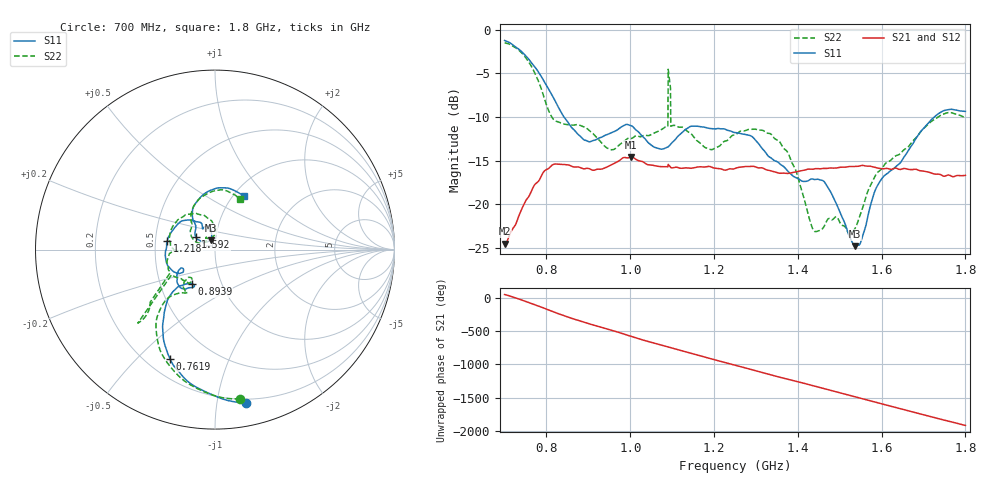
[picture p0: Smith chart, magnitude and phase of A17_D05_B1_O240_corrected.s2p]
! Created with skrf 1.9.0 (http://scikit-rf.org).
# Hz S RI R 50.0
!freq ReS11 ImS11 ReS21 ImS21 ReS12 ImS12 ReS22 ImS22
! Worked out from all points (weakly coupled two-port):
!   1601 points, 700 MHz to 1.8 GHz, reference 50 ohm
!   highest |S21| = -14.60 dB at 1.002 GHz (marker M1); lowest = -24.5 dB at 700.7 MHz (marker M2)
!   lowest |S11| = -24.8 dB at 1.537 GHz (marker M3), VSWR 1.12, Z = 47.3 + j4.91 ohm
!   |S11| at or under -10 dB: 841.7 MHz to 1.726 GHz (884.3 MHz wide, 68.9 % of centre)
!   |S22| runs from -23.5 to -1.5 dB; largest |S21 - S12| = 0.0035
!   S11 on the Smith chart (normalised r, x): 700 MHz: 0.17, -1.21; 761.9 MHz: 0.29, -0.63; 893.9 MHz: 0.72, -0.29; 1.218 GHz: 0.58, +0.06; 1.592 GHz: 0.80, +0.12; 1.8 GHz: 1.12, +0.76
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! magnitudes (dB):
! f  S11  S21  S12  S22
! 700 MHz  -1.2  -24.5  -24.3  -1.5
! 700.7 MHz  -1.2  -24.5  -24.2  -1.5
! 761.9 MHz  -3.6  -18.8  -18.7  -4.0
! 816.2 MHz  -7.8  -15.5  -15.5  -10.2
! 883.6 MHz  -12.3  -15.9  -15.8  -11.0
! 893.9 MHz  -12.7  -15.9  -16.0  -11.2
! 953 MHz  -11.9  -15.6  -15.6  -13.7
! 1.002 GHz  -11.0  -14.6  -14.7  -12.5
! 1.067 GHz  -13.6  -15.7  -15.6  -11.6
! 1.084 GHz  -13.6  -15.7  -15.7  -11.1
! 1.096 GHz  -13.1  -15.7  -15.8  -6.7
! 1.102 GHz  -12.8  -15.8  -15.8  -11.0
! 1.218 GHz  -11.4  -16.0  -16.0  -13.1
! 1.25 GHz  -11.8  -15.9  -15.8  -12.1
! 1.356 GHz  -15.3  -16.4  -16.4  -12.8
! 1.434 GHz  -17.1  -16.0  -16.0  -22.6
! 1.469 GHz  -17.8  -15.9  -15.9  -22.0
! 1.537 GHz  -24.8  -15.7  -15.7  -22.8
! 1.592 GHz  -17.7  -15.9  -15.9  -16.3
! 1.617 GHz  -16.4  -16.0  -15.9  -15.1
! 1.731 GHz  -9.8  -16.6  -16.6  -10.1
! 1.8 GHz  -9.4  -16.7  -16.7  -10.0
